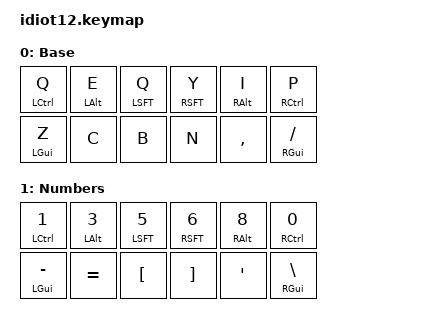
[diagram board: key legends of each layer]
#include <behaviors.dtsi>
#include <dt-bindings/zmk/keys.h>

/ {
    behaviors {
        gresc: grave_escape {
            compatible = "zmk,behavior-mod-morph";
            #binding-cells = <0>;
            bindings = <&kp ESC>, <&kp GRAVE>;
            mods = <(MOD_LGUI|MOD_LSFT|MOD_RGUI|MOD_RSFT)>;
        };
    };
    combos {
        compatible = "zmk,combos";
        combo_W {
            timeout-ms = <50>;
            layers = <0>;
            key-positions = <0 1>;
            bindings = <&kp W>;
        };
        combo_R {
            timeout-ms = <50>;
            layers = <0>;
            key-positions = <1 2>;
            bindings = <&kp R>;
        };
        combo_U {
            timeout-ms = <50>;
            layers = <0>;
            key-positions = <3 4>;
            bindings = <&kp U>;
        };
        combo_O {
            timeout-ms = <50>;
            layers = <0>;
            key-positions = <4 5>;
            bindings = <&kp O>;
        };
        combo_A {
            timeout-ms = <50>;
            layers = <0>;
            key-positions = <0 6>;
            bindings = <&kp A>;
        };
        combo_S {
            timeout-ms = <50>;
            layers = <0>;
            key-positions = <0 1 6 7>;
            bindings = <&kp S>;
        };
        combo_D {
            timeout-ms = <50>;
            layers = <0>;
            key-positions = <1 7>;
            bindings = <&kp D>;
        };
        combo_F {
            timeout-ms = <50>;
            layers = <0>;
            key-positions = <1 2 7 8>;
            bindings = <&kp F>;
        };
        combo_G {
            timeout-ms = <50>;
            layers = <0>;
            key-positions = <2 8>;
            bindings = <&kp G>;
        };
        combo_H {
            timeout-ms = <50>;
            layers = <0>;
            key-positions = <3 9>;
            bindings = <&kp H>;
        };
        combo_J {
            timeout-ms = <50>;
            layers = <0>;
            key-positions = <3 4 9 10>;
            bindings = <&kp J>;
        };
        combo_K {
            timeout-ms = <50>;
            layers = <0>;
            key-positions = <4 10>;
            bindings = <&kp K>;
        };
        combo_L {
            timeout-ms = <50>;
            layers = <0>;
            key-positions = <4 5 10 11>;
            bindings = <&kp L>;
        };
        combo_SEMICOLON {
            timeout-ms = <50>;
            layers = <0>;
            key-positions = <5 11>;
            bindings = <&kp SEMICOLON>;
        };
        combo_X {
            timeout-ms = <50>;
            layers = <0>;
            key-positions = <12 13>;
            bindings = <&kp X>;
        };
        combo_V {
            timeout-ms = <50>;
            layers = <0>;
            key-positions = <13 14>;
            bindings = <&kp V>;
        };
        combo_N {
            timeout-ms = <50>;
            layers = <0>;
            key-positions = <15 16>;
            bindings = <&kp N>;
        };
        combo_PERIOD {
            timeout-ms = <50>;
            layers = <0>;
            key-positions = <16 17>;
            bindings = <&kp PERIOD>;
        };
        combo_F1 {
            timeout-ms = <50>;
            layers = <1>;
            key-positions = <1 6>;
            bindings = <&kp F1>;
        };
        combo_F2 {
            timeout-ms = <50>;
            layers = <1>;
            key-positions = <1 6 2 7>;
            bindings = <&kp F2>;
        };
        combo_F3 {
            timeout-ms = <50>;
            layers = <1>;
            key-positions = <2 7>;
            bindings = <&kp F3>;
        };
        combo_F4 {
            timeout-ms = <50>;
            layers = <1>;
            key-positions = <2 3 7 8>;
            bindings = <&kp F4>;
        };
        combo_F5 {
            timeout-ms = <50>;
            layers = <1>;
            key-positions = <3 8>;
            bindings = <&kp F5>;
        };
        combo_F6 {
            timeout-ms = <50>;
            layers = <1>;
            key-positions = <4 9>;
            bindings = <&kp F6>;
        };
        combo_F7 {
            timeout-ms = <50>;
            layers = <1>;
            key-positions = <4 5 9 10>;
            bindings = <&kp F7>;
        };
        combo_F8 {
            timeout-ms = <50>;
            layers = <1>;
            key-positions = <5 10>;
            bindings = <&kp F8>;
        };
        combo_F9 {
            timeout-ms = <50>;
            layers = <1>;
            key-positions = <6 11>;
            bindings = <&kp F9>;
        };
        combo_F10 {
            timeout-ms = <50>;
            layers = <1>;
            key-positions = <6 11 7 12>;
            bindings = <&kp F10>;
        };
        combo_F11 {
            timeout-ms = <50>;
            layers = <1>;
            key-positions = <0 1 2 6 7 8>;
            bindings = <&kp F11>;
        };
        combo_F12 {
            timeout-ms = <50>;
            layers = <1>;
            key-positions = <3 4 5 9 10 11>;
            bindings = <&kp F12>;
        };
        combo_ENTER {
            timeout-ms = <50>;
            layers = <0 1>;
            key-positions = <9 10 11>;
            bindings = <&kp ENTER>;
        };
        combo_BSPC {
            timeout-ms = <50>;
            layers = <0 1>;
            key-positions = <3 4 5>;
            bindings = <&kp BSPC>;
        };
        combo_SPACE {
            timeout-ms = <50>;
            layers = <0 1>;
            key-positions = <6 7 8>;
            bindings = <&kp SPACE>;
        };
        combo_TAB {
            timeout-ms = <50>;
            layers = <0>;
            key-positions = <0 1 2>;
            bindings = <&kp TAB>;
        };
        combo_ESC {
            timeout-ms = <50>;
            layers = <0>;
            key-positions = <0 1 2 3>;
            bindings = <&gresc>;
        };
    };
    keymap {
        compatible = "zmk,keymap";

        default_layer {
            display-name = "Base";
            bindings = <
                &mt LCTL Q  &mt LALT E  &mt LSFT Q    &mt RSFT Y  &mt RALT I     &mt RCTL P
                &mt LGUI Z  &kp C       &kp B         &kp N       &kp COMMA      &mt RGUI SLASH
            >;
        };
        num {
            display-name = "Numbers";
            bindings = <
                &mt LCTL N1    &mt LALT N3 &mt LSFT N5    &mt RSFT N6 &mt RALT N8      &mt RCTL N0
                &mt LGUI MINUS &kp EQUAL   &kp LBKT       &kp RBKT    &kp SINGLE_QUOTE &mt RGUI BSLH
            >;
        };
    };
};
